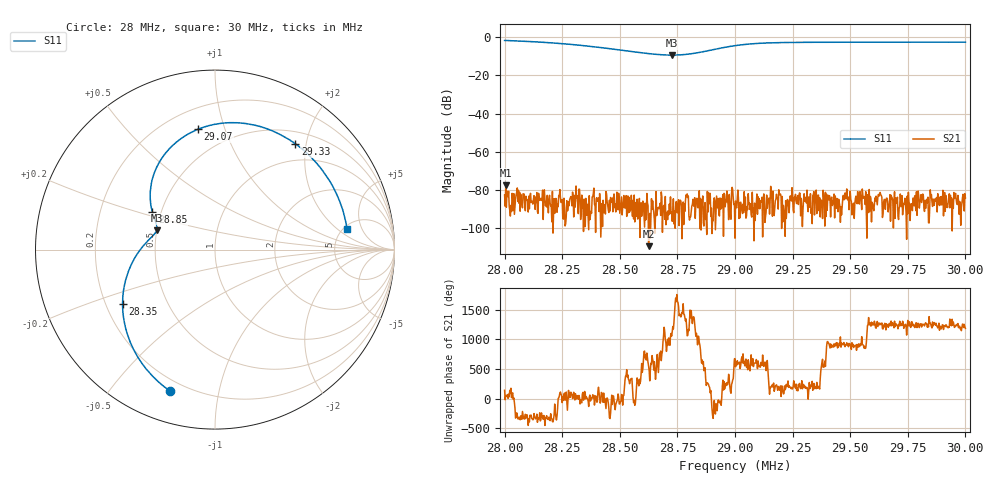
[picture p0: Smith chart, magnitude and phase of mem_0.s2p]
! NanoVNA-App by OneOfEleven et al v1.1.209 (+OD18)
! Date: 2025-07-14 21:09:38
! Start: 28MHz Stop: 30MHz Points: 801
! S-Parameter data: F S11 S21 S12 S22
# Hz S RI R 50
!  Frequency  S11_Real  S11_Imag  S21_Real  S21_Imag  S12_Real  S12_Imag  S22_Real  S22_Imag
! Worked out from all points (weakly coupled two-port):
!   801 points, 28 MHz to 30 MHz, reference 50 ohm
!   highest |S21| = -77.75 dB at 28 MHz (marker M1); lowest = -109.6 dB at 28.62 MHz (marker M2)
!   lowest |S11| = -9.3 dB at 28.73 MHz (marker M3), VSWR 2.04, Z = 25 + j6.1 ohm
!   |S11| at or under -10 dB: nowhere
!   S12 and S22 are empty: the file has one direction only
!   S11 on the Smith chart (normalised r, x): 28 MHz: 0.14, -0.72; 28.35 MHz: 0.27, -0.25; 28.85 MHz: 0.45, +0.22; 29.07 MHz: 0.33, +0.81; 29.33 MHz: 0.69, +1.81; 30 MHz: 5.37, +2.77
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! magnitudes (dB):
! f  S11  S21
! 28 MHz  -1.6  -82.8
! 28 MHz  -1.7  -77.7
! 28.02 MHz  -1.7  -83.7
! 28.02 MHz  -1.7  -80.8
! 28.18 MHz  -2.7  -88.4
! 28.3 MHz  -3.8  -83.9
! 28.32 MHz  -4.0  -83.1
! 28.34 MHz  -4.3  -82.8
! 28.35 MHz  -4.5  -84.5
! 28.62 MHz  -8.6  -109.6
! 28.67 MHz  -9.0  -89.2
! 28.73 MHz  -9.3  -96.6
! 28.79 MHz  -9.0  -85.6
! 28.85 MHz  -7.8  -84.5
! 29 MHz  -4.4  -105.4
! 29.07 MHz  -3.4  -81.3
! 29.15 MHz  -2.9  -84.4
! 29.18 MHz  -2.8  -85.8
! 29.33 MHz  -2.6  -92.4
! 29.34 MHz  -2.6  -97.8
! 29.67 MHz  -2.6  -88.3
! 30 MHz  -2.6  -84.3
